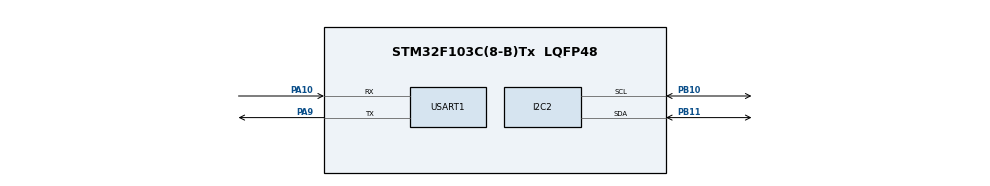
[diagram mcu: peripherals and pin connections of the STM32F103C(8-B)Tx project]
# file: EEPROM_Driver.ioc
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Mcu.Family=STM32F1
Mcu.Name=STM32F103C(8-B)Tx
Mcu.Package=LQFP48
NVIC.PriorityGroup=NVIC_PRIORITYGROUP_4
PA10.Mode=Asynchronous
PA10.Signal=USART1_RX
PA13.Mode=Serial_Wire
PA13.Signal=SYS_JTMS-SWDIO
PA14.Mode=Serial_Wire
PA14.Signal=SYS_JTCK-SWCLK
PA9.Mode=Asynchronous
PA9.Signal=USART1_TX
PB10.Mode=I2C
PB10.Signal=I2C2_SCL
PB11.Mode=I2C
PB11.Signal=I2C2_SDA
ProjectManager.HeapSize=0x200
ProjectManager.StackSize=0x400
ProjectManager.TargetToolchain=Makefile
RCC.APB1Freq_Value=8000000
RCC.APB2Freq_Value=8000000
USART1.VirtualMode=VM_ASYNC
board=custom

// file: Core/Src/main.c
/* USER CODE BEGIN Header */
/**
  ******************************************************************************
  * @file           : main.c
  * @brief          : Main program body
  ******************************************************************************
  * @attention
  *
  * Copyright (c) 2024 STMicroelectronics.
  * All rights reserved.
  *
  * This software is licensed under terms that can be found in the LICENSE file
  * in the root directory of this software component.
  * If no LICENSE file comes with this software, it is provided AS-IS.
  *
  ******************************************************************************
  */
/* USER CODE END Header */
#include "main.h"

/* USER CODE BEGIN Includes */
#include "eeprom_driver.h"
/* USER CODE END Includes */

I2C_HandleTypeDef hi2c2;

UART_HandleTypeDef huart1;

/* USER CODE BEGIN PV */
I2C_HandleTypeDef *eeprom_i2c = &hi2c2; // For eeprom_io
/* USER CODE END PV */

void SystemClock_Config(void);
static void MX_GPIO_Init(void);
static void MX_USART1_UART_Init(void);
static void MX_I2C2_Init(void);

int main(void)
{

  /* MCU Configuration--------------------------------------------------------*/

  /* Reset of all peripherals, Initializes the Flash interface and the Systick. */
  HAL_Init();

  /* Configure the system clock */
  SystemClock_Config();

  /* Initialize all configured peripherals */
  MX_GPIO_Init();
  MX_USART1_UART_Init();
  MX_I2C2_Init();

  /* Infinite loop */
  /* USER CODE BEGIN WHILE */

  eeprom_status status = eeprom_check_link();

  if (status)
    Error_Handler();

  uint16_t addr = 0x00;
  static uint8_t data[64];
  static uint8_t test_data;

  for (uint16_t i = 0; i < 14; i++)
  {
    data[0] = 10 + i;
    // We wait until the memory is ready to write data
    while (!eeprom_is_ready()) {}
    eeprom_aligned_page_write(addr + 64 * i, data);
  }

  while (!eeprom_is_ready()) {}

  status = eeprom_addr_write(0);
  for (uint16_t i = 0; i < 14; i++)
  {
    status |= eeprom_sequential_read(data, 64);
  }

  if (status)
    __asm("nop");

  while (1)
  {
    /* USER CODE END WHILE */

  }
}

void SystemClock_Config(void)
{
  RCC_OscInitTypeDef RCC_OscInitStruct = {0};
  RCC_ClkInitTypeDef RCC_ClkInitStruct = {0};

  /** Initializes the RCC Oscillators according to the specified parameters
  * in the RCC_OscInitTypeDef structure.
  */
  RCC_OscInitStruct.OscillatorType = RCC_OSCILLATORTYPE_HSI;
  RCC_OscInitStruct.HSIState = RCC_HSI_ON;
  RCC_OscInitStruct.HSICalibrationValue = RCC_HSICALIBRATION_DEFAULT;
  RCC_OscInitStruct.PLL.PLLState = RCC_PLL_NONE;
  if (HAL_RCC_OscConfig(&RCC_OscInitStruct) != HAL_OK)
  {
    Error_Handler();
  }

  /** Initializes the CPU, AHB and APB buses clocks
  */
  RCC_ClkInitStruct.ClockType = RCC_CLOCKTYPE_HCLK|RCC_CLOCKTYPE_SYSCLK
                              |RCC_CLOCKTYPE_PCLK1|RCC_CLOCKTYPE_PCLK2;
  RCC_ClkInitStruct.SYSCLKSource = RCC_SYSCLKSOURCE_HSI;
  RCC_ClkInitStruct.AHBCLKDivider = RCC_SYSCLK_DIV1;
  RCC_ClkInitStruct.APB1CLKDivider = RCC_HCLK_DIV1;
  RCC_ClkInitStruct.APB2CLKDivider = RCC_HCLK_DIV1;

  if (HAL_RCC_ClockConfig(&RCC_ClkInitStruct, FLASH_LATENCY_0) != HAL_OK)
  {
    Error_Handler();
  }
}

static void MX_I2C2_Init(void)
{

  hi2c2.Instance = I2C2;
  hi2c2.Init.ClockSpeed = 100000;
  hi2c2.Init.DutyCycle = I2C_DUTYCYCLE_2;
  hi2c2.Init.OwnAddress1 = 0;
  hi2c2.Init.AddressingMode = I2C_ADDRESSINGMODE_7BIT;
  hi2c2.Init.DualAddressMode = I2C_DUALADDRESS_DISABLE;
  hi2c2.Init.OwnAddress2 = 0;
  hi2c2.Init.GeneralCallMode = I2C_GENERALCALL_DISABLE;
  hi2c2.Init.NoStretchMode = I2C_NOSTRETCH_DISABLE;
  if (HAL_I2C_Init(&hi2c2) != HAL_OK)
  {
    Error_Handler();
  }

}

static void MX_USART1_UART_Init(void)
{

  huart1.Instance = USART1;
  huart1.Init.BaudRate = 115200;
  huart1.Init.WordLength = UART_WORDLENGTH_8B;
  huart1.Init.StopBits = UART_STOPBITS_1;
  huart1.Init.Parity = UART_PARITY_NONE;
  huart1.Init.Mode = UART_MODE_TX_RX;
  huart1.Init.HwFlowCtl = UART_HWCONTROL_NONE;
  huart1.Init.OverSampling = UART_OVERSAMPLING_16;
  if (HAL_UART_Init(&huart1) != HAL_OK)
  {
    Error_Handler();
  }

}

static void MX_GPIO_Init(void)
{

  /* GPIO Ports Clock Enable */
  __HAL_RCC_GPIOB_CLK_ENABLE();
  __HAL_RCC_GPIOA_CLK_ENABLE();

}

void Error_Handler(void)
{
  __disable_irq();
  while (1)
  {
  }
}
